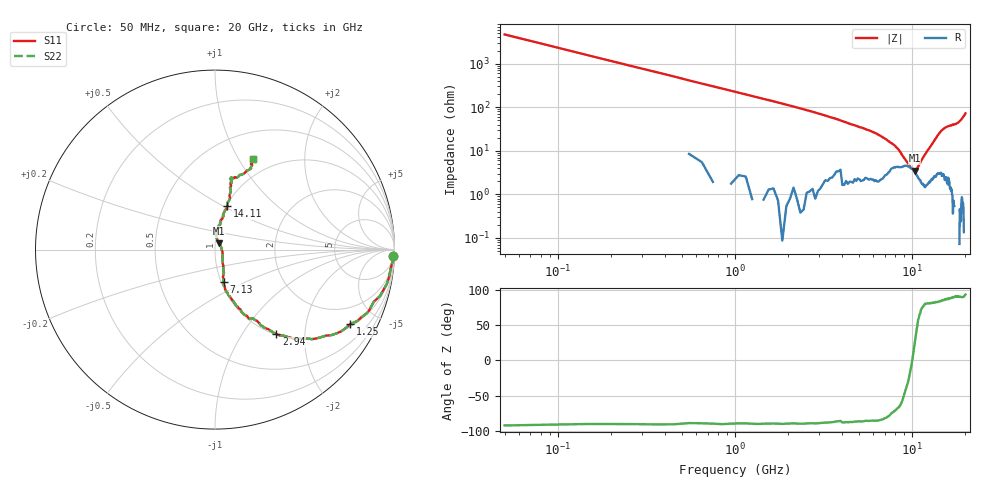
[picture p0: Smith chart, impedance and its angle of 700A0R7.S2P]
!  American Technical Ceramics  Date:  1/14/99
!  One Norden Lane
!  Huntington Station,  NY.  11746-2102
!  Tel:  (516) 547-5700  Fax:  (516) 547-5748
!  Part Number  700a0r7
!  Description: NPO, High Q, Temperature Stable
!  Application: Bypass, Coupling, Timing
!  Tuning, Blocking
# GHZ S DB R 50
! Freq  |S11|  S11 Ph  |S21|  S21 Ph  |S12|  S12 Ph  |S22|  S22 Ph
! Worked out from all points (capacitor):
!   201 points, 50 MHz to 20 GHz, reference 50 ohm
!   read as one part in series: C = 691 fF near 150 MHz
!   lowest |Z| = 3.51 ohm at 10.32 GHz (marker M1)
!   series resonance near 10.03 GHz, so ESL is about 360 pH
!   S11 on the Smith chart (normalised r, x): 50 MHz: 14, -54; 1.25 GHz: 1.11, -3.57; 2.94 GHz: 1.01, -1.44; 7.13 GHz: 1.03, -0.38; 14.11 GHz: 1.01, +0.52; 20 GHz: 0.80, +1.15
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0.05  -0.08 -2.0  -33.49 90.2  -33.49 90.2  -0.08 -2.0
0.15  -0.08 -4.0  -23.81 86.1  -23.81 86.1  -0.08 -4.0
0.35  -0.16 -9.0  -16.53 81.6  -16.53 81.6  -0.16 -9.0
0.65  -0.40 -15.7  -11.25 73.4  -11.25 73.4  -0.40 -15.7
1.25  -1.30 -28.8  -6.40 61.2  -6.40 61.2  -1.30 -28.8
1.95  -2.51 -41.4  -3.72 48.5  -3.72 48.5  -2.51 -41.4
2.94  -4.70 -54.0  -1.94 35.2  -1.94 35.2  -4.70 -54.0
3.44  -5.99 -58.3  -1.52 29.8  -1.52 29.8  -5.99 -58.3
4.64  -8.55 -66.9  -0.79 20.3  -0.79 20.3  -8.55 -66.9
6.73  -13.39 -75.2  -0.46 10.9  -0.46 10.9  -13.39 -75.2
7.13  -14.69 -74.7  -0.46 9.4  -0.46 9.4  -14.69 -74.7
8.33  -20.13 -62.0  -0.44 5.9  -0.44 5.9  -20.13 -62.0
9.43  -28.01 -9.7  -0.41 2.8  -0.41 2.8  -28.01 -9.7
10.03  -28.30 36.5  -0.38 1.4  -0.38 1.4  -28.30 36.5
10.32  -27.64 56.5  -0.36 0.6  -0.36 0.6  -27.64 56.5
11.22  -22.57 84.7  -0.31 -1.8  -0.31 -1.8  -22.57 84.7
13.42  -14.83 76.6  -0.47 -8.9  -0.47 -8.9  -14.83 76.6
14.11  -11.96 74.1  -0.62 -11.3  -0.62 -11.3  -11.96 74.1
15.21  -9.14 75.7  -1.04 -14.4  -1.04 -14.4  -9.14 75.7
16.71  -7.98 76.8  -1.29 -16.4  -1.29 -16.4  -7.98 76.8
18.6  -7.42 72.3  -1.72 -24.7  -1.72 -24.7  -7.42 72.3
20  -5.23 67.3  -3.33 -35.4  -3.33 -35.4  -5.23 67.3
